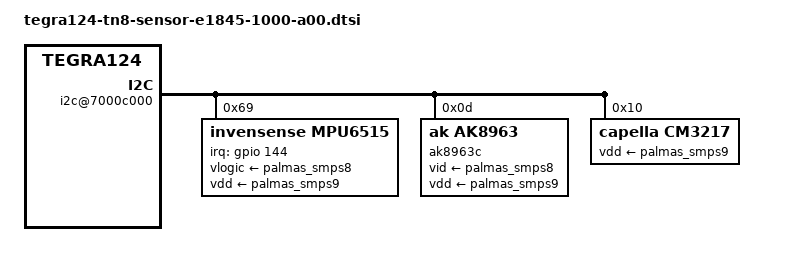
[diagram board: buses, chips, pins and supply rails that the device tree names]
/ {
	i2c@7000c000 {
		mpu6515@69 {
			compatible = "invensense,mpu6515";
			reg = <0x69>;
			interrupt-parent = <&gpio>;
			interrupts = <144 0x01>;
			invensense,int_config = <0x10>;
			invensense,level_shifter = <0>;
			invensense,orientation = [00 ff 00 01 00 00 00 00 01];
			invensense,sec_slave_type = <0>;
			invensense,key = [4e cc 7e eb f6 1e 35 22
					  00 34 0d 65 32 e9 94 89];
			vlogic-supply = <&palmas_smps8>;
			vdd-supply = <&palmas_smps9>;
		};

		ak8963c@0d {
			compatible = "ak,ak8963";
			reg = <0x0d>;
			orientation = [00 ff 00 01 00 00 00 00 01];
			config = "mpu";
			vid-supply = <&palmas_smps8>;
			vdd-supply = <&palmas_smps9>;
		};

		cm3217@10 {
			compatible = "capella,cm3217";
			reg = <0x10>;
			vdd-supply = <&palmas_smps9>;
		};
	};
};

